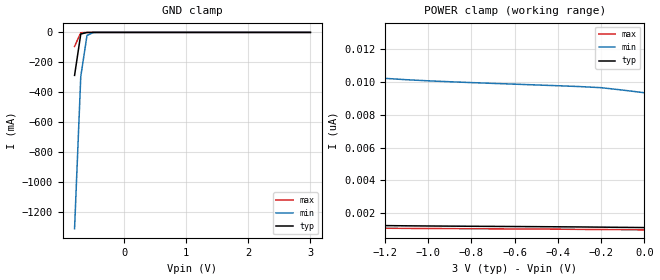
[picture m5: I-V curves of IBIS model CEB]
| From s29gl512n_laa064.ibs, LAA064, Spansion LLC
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[Model]   CEB
Model_type Input
Vinh=2.1
Vinl=0.9
C_comp   8.0pF   8.0pF   8.0pF
[Temperature Range] 27   100   0
[Voltage Range]   3.0   2.7   3.6
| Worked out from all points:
|   GND clamp passes 1 mA (typ) near -0.61 V on its own axis
[GND Clamp]
-800mV    -287.6mA   -1.313A    -93.64mA
-700mV    -11.02mA   -295.1mA   -2.363mA
-600mV    -433.4uA   -20.67mA   -281.9uA
-500mV    -60.36uA   -1.056mA   -70.98uA
-400mV    -13.27uA   -72.11uA   -15.87uA
3V        1.138nA    9.702nA    953.3pA
[POWER Clamp]
-3V       738.1nA    541.4nA    1.322uA
-2.3V     18.06nA    35.37nA    26.8nA
-2.2V     10.51nA    25.93nA    14.05nA
-2.1V     6.377nA    20.06nA    7.667nA
-2V       4.098nA    16.39nA    4.448nA
-1.9V     2.829nA    14.08nA    2.808nA
-1.8V     2.12nA     12.62nA    1.967nA
-1.7V     1.723nA    11.69nA    1.535nA
-1.5V     1.382nA    10.72nA    1.2nA
-1.3V     1.279nA    10.31nA    1.113nA
-200mV    1.162nA    9.634nA    1.017nA
0V        1.138nA    9.326nA    997.5pA
